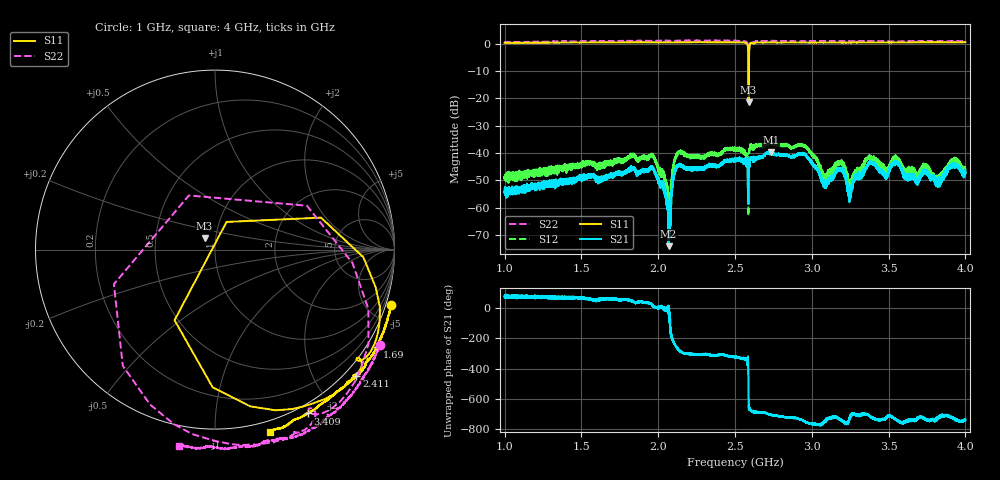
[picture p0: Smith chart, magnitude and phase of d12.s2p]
!Agilent Technologies,N5230C,SG49000117,A.08.50.07
!Agilent N5230C: A.08.50.07
!Date: Monday, May 20, 2024 21:04:35
!Correction: S11(Full 2 Port(1,2))
!S21(Full 2 Port(1,2))
!S12(Full 2 Port(1,2))
!S22(Full 2 Port(1,2))
!S2P File: Measurements: S11, S21, S12, S22:
# Hz S  MA  R 50
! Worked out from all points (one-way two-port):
!   20001 points, 1 GHz to 4 GHz, reference 50 ohm
!   highest |S21| = -39.71 dB at 2.734 GHz (marker M1); lowest = -74.1 dB at 2.067 GHz (marker M2)
!   lowest |S11| = -21.4 dB at 2.589 GHz (marker M3), VSWR 1.19, Z = 44.2 + j5.51 ohm
!   |S11| at or under -10 dB: 2.587813 GHz to 2.589807 GHz (1.994 MHz wide, 0.077 % of centre)
!   |S22| runs from -9.5 to 1.1 dB; largest |S21 - S12| = 0.0092
!   S11 on the Smith chart (normalised r, x): 1 GHz: -0.65, -6.41; 1.69 GHz: -0.35, -3.58; 2.411 GHz: -0.22, -2.60; 3.409 GHz: -0.09, -1.71; 4 GHz: -0.08, -1.34
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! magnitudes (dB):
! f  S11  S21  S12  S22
! 1 GHz  0.3  -54.2  -48.6  0.5
! 1.5 GHz  0.4  -49.1  -44.4  0.8
! 1.69 GHz  0.4  -48.2  -43.2  0.9
! 1.958 GHz  0.4  -45.4  -40.7  1.0
! 2 GHz  0.4  -50.1  -46.3  1.0
! 2.067 GHz  0.4  -74.1  -59.2  1.0
! 2.129 GHz  0.5  -44.7  -39.9  1.0
! 2.411 GHz  0.5  -43.9  -40.2  1.1
! 2.5 GHz  0.5  -42.0  -38.3  1.1
! 2.589 GHz  -21.4  -45.0  -44.7  -8.8
! 2.611 GHz  0.3  -41.9  -37.7  0.7
! 2.734 GHz  0.4  -39.7  -36.4  1.0
! 3 GHz  0.4  -43.4  -40.3  0.9
! 3.085 GHz  0.4  -52.6  -49.5  0.9
! 3.195 GHz  0.4  -45.9  -44.2  0.9
! 3.247 GHz  0.4  -54.8  -51.2  0.9
! 3.409 GHz  0.4  -44.1  -42.7  0.9
! 3.5 GHz  0.4  -47.5  -45.9  0.8
! 3.548 GHz  0.4  -43.5  -41.5  0.8
! 3.818 GHz  0.5  -51.6  -50.0  0.9
! 3.938 GHz  0.5  -44.5  -42.4  0.9
! 4 GHz  0.5  -46.3  -47.7  0.9
